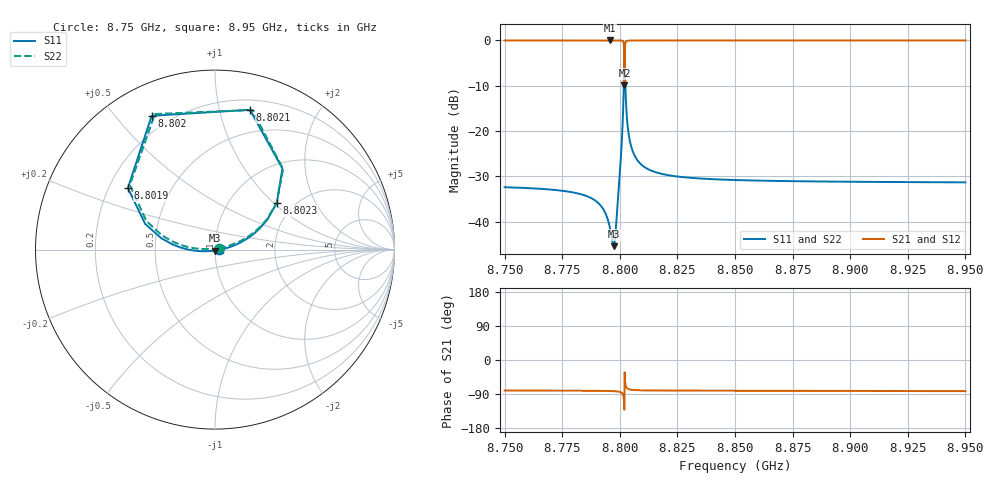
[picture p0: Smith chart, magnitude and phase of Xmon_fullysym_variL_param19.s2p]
! Sonnet Data File
! From: emgraph Version : 16.52
! From Project: 171117_Xmon_fullysym
! Data is De-embedded
! Data File Written: 11/26/2017 17:14:24
!< HDATE 11/22/2017 16:48:52
!< MDATE 11/23/2017 10:16:42
!< PARAMS
!< Lj = 11.0
!< Gap = 1.0
!< Pwid = 2000.0
!< Airgap = 6.0
!< Width = 10.0
!< Lj1 = 9.7
!< END PARAMS
# GHZ S MA R 50.90000
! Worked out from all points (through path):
!   2001 points, 8.75 GHz to 8.95 GHz, reference 50.9 ohm
!   highest |S21| = 0.00 dB at 8.7959 GHz (marker M1); lowest = -9.9 dB at 8.802 GHz (marker M2)
!   lowest |S11| = -45.4 dB at 8.7973 GHz (marker M3), VSWR 1.01, Z = 51 - j0.539 ohm
!   |S11| at or under -10 dB: start of sweep to 8.8017 GHz; 8.8024 GHz to end of sweep
!   |S22| runs from -45.1 to -1.7 dB; largest |S21 - S12| = 8.7e-11
!   S11 on the Smith chart (normalised r, x): 8.75 GHz: 1.05, -0.00; 8.8019 GHz: 0.28, +0.30; 8.802 GHz: 0.13, +0.63; 8.8021 GHz: 0.28, +1.24; 8.8023 GHz: 1.63, +1.05; 8.95 GHz: 1.06, -0.00
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8.75  0.02405 -2.9  0.9997 -80.5  0.9997 -80.5  0.02405 22.0
!< P1 F=8.75 Eeff=(6.44841643 -2.9796e-5) Z0=(50.9085185 1.17018e-4) R=0.0 C=0.0
!< P2 F=8.75 Eeff=(6.44841643 -2.9796e-5) Z0=(50.9085185 1.17018e-4) R=0.0 C=0.0
8.7834  0.02004 -6.2  0.9998 -81.0  0.9998 -81.0  0.02004 24.2
8.7918  0.01498 -12.2  0.9999 -81.4  0.9999 -81.4  0.015 29.5
8.7959  0.008121 -33.1  0.9999 -81.9  0.9999 -81.9  0.008206 50.0
8.7973  0.00538 -79.3  0.9999 -82.3  0.9999 -82.3  0.005589 94.8
8.7981  0.007284 -124.9  0.9998 -82.6  0.9998 -82.6  0.007506 138.2
8.799  0.015 -152.1  0.9996 -83.1  0.9996 -83.1  0.01518 164.1
8.8003  0.04398 -168.1  0.9983 -84.8  0.9983 -84.8  0.04416 176.5
8.801  0.09001 -174.7  0.9938 -87.5  0.9938 -87.5  0.09027 177.1
8.8014  0.1598 179.1  0.9817 -91.5  0.9817 -91.5  0.1602 174.0
8.8019  0.5944 144.7  0.727 -118.4  0.727 -118.4  0.5955 142.8
8.802  0.8248 115.3  0.3194 -131.1  0.3194 -131.1  0.8263 113.9
8.8021  0.8031 76.0  0.3965 -32.5  0.3965 -32.5  0.8045 75.1
8.8023  0.4319 37.2  0.8723 -56.8  0.8723 -56.8  0.4325 37.2
8.8031  0.1389 14.8  0.9883 -74.3  0.9883 -74.3  0.139 18.1
8.804  0.0875 10.1  0.9956 -77.3  0.9956 -77.3  0.08758 16.0
8.806  0.0566 6.1  0.9982 -79.1  0.9982 -79.1  0.05663 16.0
8.8167  0.0345 0.9  0.9994 -80.5  0.9994 -80.5  0.03451 18.1
8.85  0.02887 -1.6  0.9996 -81.1  0.9996 -81.1  0.02887 19.3
8.8834  0.02787 -2.4  0.9996 -81.5  0.9996 -81.5  0.02787 19.4
8.9167  0.02745 -3.0  0.9996 -81.8  0.9996 -81.8  0.02745 19.3
8.95  0.02721 -3.5  0.9996 -82.2  0.9996 -82.2  0.02721 19.2
